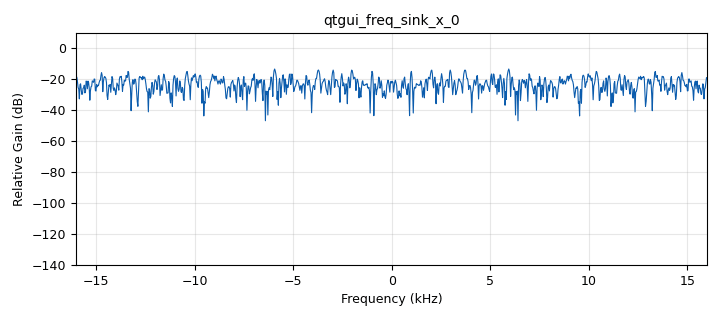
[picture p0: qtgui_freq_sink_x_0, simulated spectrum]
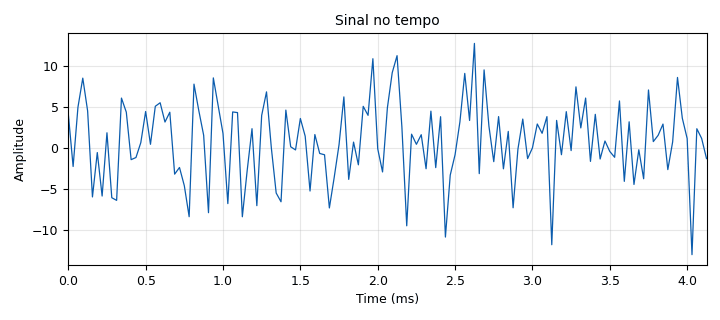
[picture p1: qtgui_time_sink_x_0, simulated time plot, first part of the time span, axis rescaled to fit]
options:
  parameters:
    generate_options: qt_gui
    id: ruido
    output_language: python
    title: Not titled yet
  states: {}

blocks:
- name: samp_rate
  id: variable
  parameters:
    value: '32000'
  states: {}
- name: analog_noise_source_x_0
  id: analog_noise_source_x
  parameters:
    amp: '5'
    noise_type: analog.GR_GAUSSIAN
    seed: '0'
    type: float
  states: {}
- name: analog_sig_source_x_0
  id: analog_sig_source_x
  parameters:
    amp: '1'
    freq: '1000'
    offset: '0'
    phase: '0'
    samp_rate: samp_rate
    type: float
    waveform: analog.GR_COS_WAVE
  states: {}
- name: blocks_add_xx_0
  id: blocks_add_xx
  parameters:
    type: float
  states: {}
- name: blocks_throttle_0
  id: blocks_throttle
  parameters:
    samples_per_second: samp_rate
    type: float
  states: {}
- name: qtgui_freq_sink_x_0
  id: qtgui_freq_sink_x
  parameters:
    bw: samp_rate
    fc: '0'
    fftsize: '1024'
    type: float
  states: {}
- name: qtgui_time_sink_x_0
  id: qtgui_time_sink_x
  parameters:
    name: Sinal no tempo
    size: '1024'
    srate: samp_rate
    type: float
  states: {}

connections:
- [analog_noise_source_x_0, '0', blocks_add_xx_0, '1']
- [analog_sig_source_x_0, '0', blocks_throttle_0, '0']
- [blocks_add_xx_0, '0', qtgui_freq_sink_x_0, '0']
- [blocks_add_xx_0, '0', qtgui_time_sink_x_0, '0']
- [blocks_throttle_0, '0', blocks_add_xx_0, '0']

metadata:
  file_format: 1
  grc_version: 3.10.5.0
